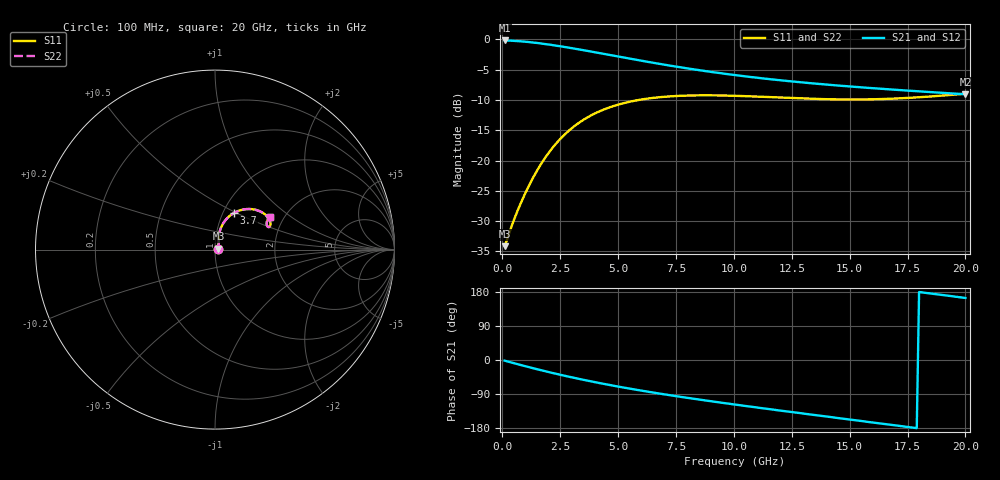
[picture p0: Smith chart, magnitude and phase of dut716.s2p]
! Touchstone file exported from HFSS 2024.1.0
!  File:  C:/UserFiles/LocalFiles/RDL_TSV_Batchsim/temp_RDL_TSV_716_1779889508.aedt
!  Generated:  10:05:42 PM May 27, 2026
!  Design:  RDL_TSV
!  Project:  temp_RDL_TSV_716_1779889508
!  Setup:  Setup1
!  Solution:  Sweep
! Variables:
!  dtsv = 7.52um
!  hbump = 3um
!  htsv = 65.03um
!  ldown = 536.97um
!  lrdl = 308.24um
!  p = 40
!  p1 = 57.83um
!  rhole = 10um
!  subl = 2843.87um
!  t = 450um
!  tdown = 2.29um
!  trdl = 3.28um
!  viad = 10um
!  wdown = 28.62um
!  wrdl = 14.22um
!  xbump = 18um
# GHz S MA R 50.000000
! Terminal data exported
! Port[1] = TM1_1_T1
! Port[2] = TM1_4_T1
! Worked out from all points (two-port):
!   200 points, 100 MHz to 20 GHz, reference 50 ohm
!   highest |S21| = -0.17 dB at 100 MHz (marker M1); lowest = -9.1 dB at 20 GHz (marker M2)
!   |S21| within 3 dB of the highest: start of sweep to 5.505 GHz
!   lowest |S11| = -34.1 dB at 100 MHz (marker M3), VSWR 1.04, Z = 51.9 + j0.562 ohm
!   |S11| at or under -10 dB: start of sweep to 5.882 GHz
!   |S22| runs from -34.1 to -9.0 dB; largest |S21 - S12| = 4.5e-14
!   S11 on the Smith chart (normalised r, x): 100 MHz: 1.04, +0.01; 3.7 GHz: 1.12, +0.48; 20 GHz: 1.70, +0.71
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0.1  0.01965 16.0  0.9809 -1.7  0.9809 -1.7  0.01965 16.0
! Gamma 0 0 0 0
! Port Impedance 50 0 50 0
0.5  0.03229 50.8  0.9738 -8.4  0.9738 -8.4  0.03229 50.8
0.8  0.04459 62.7  0.9649 -13.3  0.9649 -13.3  0.04459 62.7
1.2  0.06477 71.5  0.9494 -19.7  0.9494 -19.7  0.06476 71.5
1.7  0.09545 75.3  0.9249 -27.4  0.9249 -27.4  0.09543 75.2
2.1  0.1227 74.9  0.9026 -33.3  0.9026 -33.3  0.1227 74.9
2.5  0.1507 72.9  0.8786 -38.9  0.8786 -38.9  0.1507 72.9
3  0.185 69.1  0.8473 -45.8  0.8473 -45.8  0.1849 69.1
3.5  0.2167 64.7  0.8155 -52.3  0.8155 -52.3  0.2166 64.7
3.7  0.2284 62.9  0.8028 -54.8  0.8028 -54.8  0.2283 62.8
4.4  0.2646 56.5  0.7591 -63.2  0.7591 -63.2  0.2645 56.5
5.1  0.293 50.6  0.7173 -71.2  0.7173 -71.2  0.2929 50.5
5.9  0.3167 44.5  0.673 -79.7  0.673 -79.7  0.3165 44.4
6.8  0.3336 38.6  0.628 -88.7  0.628 -88.7  0.3334 38.6
8.4  0.3454 30.7  0.5612 -103.5  0.5612 -103.5  0.3451 30.6
10.1  0.3423 25.4  0.5064 -118.0  0.5064 -118.0  0.342 25.4
11.7  0.3331 23.0  0.4667 -131.0  0.4667 -131.0  0.3327 23.0
13.4  0.3235 22.9  0.4339 -144.5  0.4339 -144.5  0.323 22.9
15  0.3193 24.5  0.4091 -157.1  0.4091 -157.1  0.3189 24.5
16.7  0.3235 27.0  0.3873 -170.4  0.3873 -170.4  0.3232 27.1
18.3  0.3362 29.3  0.3695 177.1  0.3695 177.1  0.3359 29.4
20  0.3565 30.8  0.3526 163.7  0.3526 163.7  0.3563 30.9
